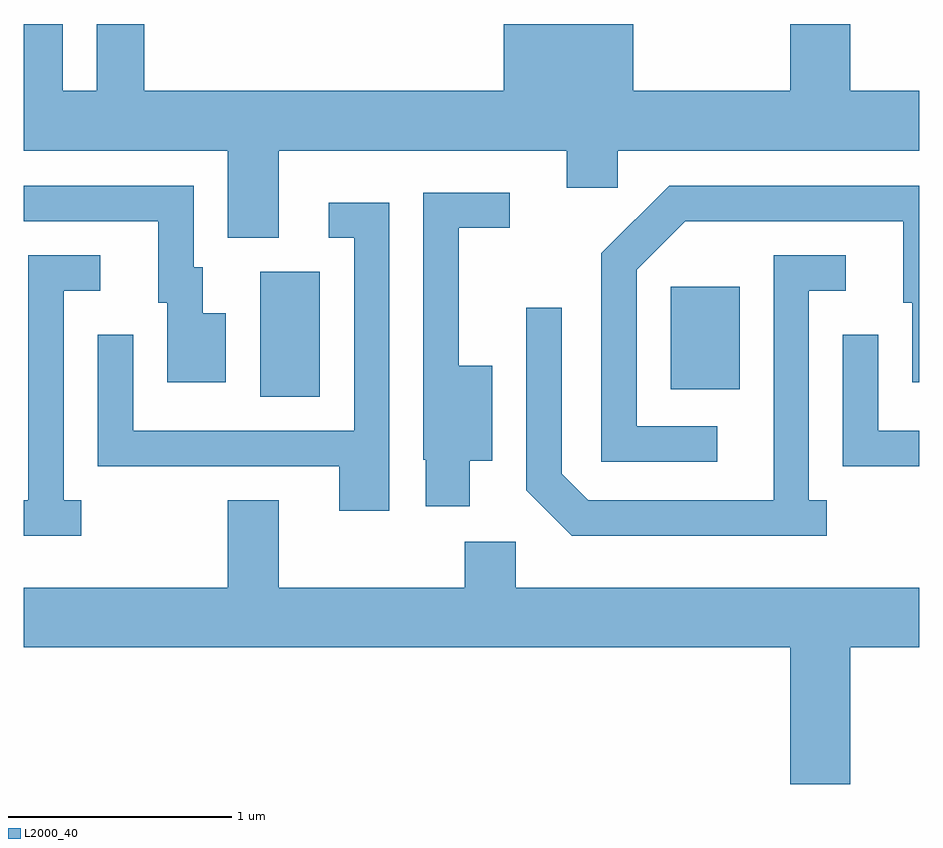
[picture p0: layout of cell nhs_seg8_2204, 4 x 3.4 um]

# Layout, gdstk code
import gdstk
lib = gdstk.Library(unit=1e-6, precision=1e-09)
def R(c, l, rs):  # rectangles x0, y0, x1, y1
    for r in rs: c.add(gdstk.rectangle(r[:2], r[2:], *l))
def P(c, l, *ps):  # polygons
    for p in ps: c.add(gdstk.Polygon(p, *l))
L2000_40 = (2000, 40)

nhs_seg8_2204 = lib.new_cell('nhs_seg8_2204')
R(nhs_seg8_2204, L2000_40, [(252.666,1808.676,252.934,1809.234), (254.501,1808.711,254.809,1809.169)])
P(nhs_seg8_2204, L2000_40, [(252.749,1809.776),(254.036,1809.776),(254.036,1809.611),(254.264,1809.611),(254.264,1809.776),(255.611,1809.776),(255.611,1810.044),(255.304,1810.044),(255.304,1810.342),(255.036,1810.342),(255.036,1810.044),(254.334,1810.044),(254.334,1810.342),(253.756,1810.342),(253.756,1810.044),(252.149,1810.044),(252.149,1810.342),(251.936,1810.342),(251.936,1810.044),(251.784,1810.044),(251.784,1810.342),(251.611,1810.342),(251.611,1809.776),(252.521,1809.776),(252.521,1809.386),(252.749,1809.386)],
  [(254.708,1808.544),(254.349,1808.544),(254.349,1809.244),(254.567,1809.461),(255.541,1809.461),(255.541,1809.096),(255.581,1809.096),(255.581,1808.741),(255.611,1808.741),(255.611,1809.619),(254.494,1809.619),(254.191,1809.317),(254.191,1808.386),(254.708,1808.386)],
  [(252.514,1809.049),(252.409,1809.049),(252.409,1809.254),(252.369,1809.254),(252.369,1809.619),(251.611,1809.619),(251.611,1809.461),(252.211,1809.461),(252.211,1809.096),(252.251,1809.096),(252.251,1808.741),(252.514,1808.741)],
  [(253.604,1808.391),(253.704,1808.391),(253.704,1808.814),(253.554,1808.814),(253.554,1809.431),(253.783,1809.431),(253.783,1809.589),(253.396,1809.589),(253.396,1808.395),(253.406,1808.395),(253.406,1808.186),(253.604,1808.186)],
  [(253.244,1809.544),(252.973,1809.544),(252.973,1809.386),(253.086,1809.386),(253.086,1808.524),(252.099,1808.524),(252.099,1808.953),(251.941,1808.953),(251.941,1808.366),(253.021,1808.366),(253.021,1808.166),(253.244,1808.166)],
  [(255.198,1808.214),(255.119,1808.214),(255.119,1809.151),(255.283,1809.151),(255.283,1809.309),(254.961,1809.309),(254.961,1808.214),(254.132,1808.214),(254.014,1808.332),(254.014,1809.073),(253.856,1809.073),(253.856,1808.259),(254.059,1808.056),(255.198,1808.056)],
  [(251.868,1808.214),(251.789,1808.214),(251.789,1809.151),(251.953,1809.151),(251.953,1809.309),(251.631,1809.309),(251.631,1808.214),(251.611,1808.214),(251.611,1808.056),(251.868,1808.056)],
  [(255.611,1808.524),(255.429,1808.524),(255.429,1808.953),(255.271,1808.953),(255.271,1808.366),(255.611,1808.366)],
  [(255.304,1807.556),(255.611,1807.556),(255.611,1807.824),(253.809,1807.824),(253.809,1808.029),(253.581,1808.029),(253.581,1807.824),(252.749,1807.824),(252.749,1808.214),(252.521,1808.214),(252.521,1807.824),(251.611,1807.824),(251.611,1807.556),(255.036,1807.556),(255.036,1806.946),(255.304,1806.946)])

lib.write_gds('nhs_seg8_2204.gds')
